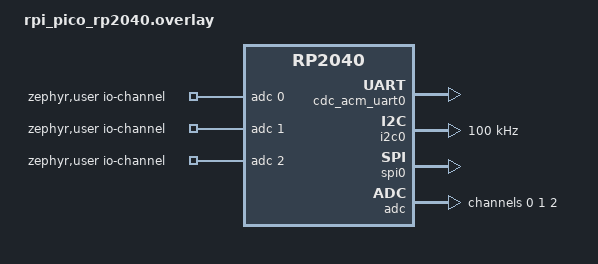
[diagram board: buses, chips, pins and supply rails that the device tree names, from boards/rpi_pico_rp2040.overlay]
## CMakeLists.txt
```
# SPDX-License-Identifier: Apache-2.0

cmake_minimum_required(VERSION 3.20.0)

find_package(Zephyr REQUIRED HINTS $ENV{ZEPHYR_BASE})
project(agent_debugboard)

target_sources(app PRIVATE src/main.c src/debugboard_model.c)
```

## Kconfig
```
# SPDX-License-Identifier: Apache-2.0

mainmenu "agent-debugboard controller"

source "Kconfig.zephyr"
```

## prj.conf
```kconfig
CONFIG_GPIO=y
CONFIG_ADC=y
CONFIG_I2C=y
CONFIG_SPI=y

CONFIG_SHELL=y
CONFIG_SHELL_BACKEND_SERIAL=y
CONFIG_SHELL_BACKEND_SERIAL_CHECK_DTR=y
CONFIG_SHELL_BACKEND_SERIAL_RX_RING_BUFFER_SIZE=256
CONFIG_SHELL_BACKEND_SERIAL_TX_RING_BUFFER_SIZE=256
CONFIG_SHELL_PROMPT_UART="debugboard:~$ "

CONFIG_USB_DEVICE_STACK_NEXT=y
CONFIG_USBD_CDC_ACM_CLASS=y
CONFIG_CDC_ACM_SERIAL_INITIALIZE_AT_BOOT=y
CONFIG_CDC_ACM_SERIAL_MANUFACTURER_STRING="Radxa"
CONFIG_CDC_ACM_SERIAL_PRODUCT_STRING="Agent DebugBoard"
CONFIG_CDC_ACM_SERIAL_PID=0xDB01

CONFIG_SERIAL=y
CONFIG_UART_INTERRUPT_DRIVEN=y
CONFIG_UART_LINE_CTRL=y

CONFIG_LOG=y
CONFIG_LOG_DEFAULT_LEVEL=2
CONFIG_BOOT_BANNER=n
```

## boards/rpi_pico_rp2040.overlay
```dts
#include <zephyr/dt-bindings/adc/adc.h>
#include <zephyr/dt-bindings/i2c/i2c.h>
#include <zephyr/dt-bindings/pinctrl/rpi-pico-rp2040-pinctrl.h>

/ {
	chosen {
		zephyr,console = &cdc_acm_uart0;
		zephyr,shell-uart = &cdc_acm_uart0;
	};

	zephyr,user {
		/* Board current-monitor outputs:
		 * GP26/ADC0 = S_C_5V, GP27/ADC1 = S_C_12V,
		 * GP28/ADC2 = S_C_20V.
		 */
		io-channels = <&adc 0>, <&adc 1>, <&adc 2>;
	};
};

&zephyr_udc0 {
	cdc_acm_uart0: cdc_acm_uart0 {
		compatible = "zephyr,cdc-acm-uart";
		label = "Agent DebugBoard USB shell";
	};
};

/* The board uses GP05 for 5V_OUT enable. Do not keep Pico's default I2C0
 * assignment on GP04/GP05.
 */
&pinctrl {
	i2c0_debugboard_j17: i2c0_debugboard_j17 {
		group1 {
			pinmux = <I2C0_SDA_P20>, <I2C0_SCL_P21>;
			input-enable;
			input-schmitt-enable;
		};
	};
};

&uart0 {
	status = "disabled";
};

&i2c0 {
	status = "okay";
	clock-frequency = <I2C_BITRATE_STANDARD>;
	pinctrl-0 = <&i2c0_debugboard_j17>;
	pinctrl-names = "default";
};

&spi0 {
	status = "okay";
	pinctrl-0 = <&spi0_default>;
	pinctrl-names = "default";
};

&adc {
	status = "okay";
	#address-cells = <1>;
	#size-cells = <0>;

	channel@0 {
		reg = <0>;
		zephyr,gain = "ADC_GAIN_1";
		zephyr,reference = "ADC_REF_INTERNAL";
		zephyr,acquisition-time = <ADC_ACQ_TIME_DEFAULT>;
		zephyr,resolution = <12>;
	};

	channel@1 {
		reg = <1>;
		zephyr,gain = "ADC_GAIN_1";
		zephyr,reference = "ADC_REF_INTERNAL";
		zephyr,acquisition-time = <ADC_ACQ_TIME_DEFAULT>;
		zephyr,resolution = <12>;
	};

	channel@2 {
		reg = <2>;
		zephyr,gain = "ADC_GAIN_1";
		zephyr,reference = "ADC_REF_INTERNAL";
		zephyr,acquisition-time = <ADC_ACQ_TIME_DEFAULT>;
		zephyr,resolution = <12>;
	};
};
```

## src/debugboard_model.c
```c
/*
 * SPDX-License-Identifier: Apache-2.0
 */

#include "debugboard_model.h"

#include <ctype.h>
#include <errno.h>
#include <stdlib.h>
#include <string.h>

#define ARRAY_SIZE_LOCAL(array) (sizeof(array) / sizeof((array)[0]))
#define INA139_SENSOR "INA139"
#define INA139_SHUNT_UOHM 200U
#define INA139_LOAD_OHM 100000U
#define INA139_GM_UA_PER_V 1000U
#define INA139_OFFSET_MV 0
#define INA139_MA_PER_MV 50
#define INA139_5V_OUT_OFFSET_MV 11
#define INA139_5V_OUT_MA_PER_MV 50

static const struct debugboard_current_cal_point five_volt_cal_points[] = {
	{ .mv = 11, .ma = 0 },
	{ .mv = 12, .ma = 200 },
	{ .mv = 13, .ma = 300 },
	{ .mv = 16, .ma = 400 },
	{ .mv = 17, .ma = 500 },
	{ .mv = 20, .ma = 600 },
	{ .mv = 21, .ma = 700 },
	{ .mv = 24, .ma = 800 },
	{ .mv = 26, .ma = 900 },
	{ .mv = 27, .ma = 1000 },
	{ .mv = 29, .ma = 1100 },
	{ .mv = 33, .ma = 1250 },
	{ .mv = 36, .ma = 1400 },
	{ .mv = 38, .ma = 1500 },
	{ .mv = 40, .ma = 1600 },
	{ .mv = 41, .ma = 1700 },
	{ .mv = 43, .ma = 1800 },
	{ .mv = 46, .ma = 1900 },
	{ .mv = 48, .ma = 2000 },
	{ .mv = 49, .ma = 2100 },
	{ .mv = 52, .ma = 2200 },
	{ .mv = 53, .ma = 2300 },
	{ .mv = 56, .ma = 2400 },
	{ .mv = 58, .ma = 2500 },
	{ .mv = 61, .ma = 2600 },
	{ .mv = 62, .ma = 2700 },
	{ .mv = 65, .ma = 2800 },
	{ .mv = 66, .ma = 2900 },
	{ .mv = 68, .ma = 3000 },
	{ .mv = 70, .ma = 3100 },
	{ .mv = 74, .ma = 3300 },
	{ .mv = 77, .ma = 3400 },
	{ .mv = 78, .ma = 3500 },
	{ .mv = 81, .ma = 3600 },
	{ .mv = 82, .ma = 3700 },
	{ .mv = 86, .ma = 3800 },
	{ .mv = 87, .ma = 3900 },
	{ .mv = 89, .ma = 4000 },
	{ .mv = 91, .ma = 4100 },
	{ .mv = 92, .ma = 4200 },
	{ .mv = 95, .ma = 4300 },
};

const struct debugboard_rail_desc debugboard_rails[] = {
	{
		.name = "12v_out",
		.signal = "GP02_12V_EN",
		.pin = 2,
		.controllable = true,
	},
	{
		.name = "5v_out",
		.signal = "GP05_5V_EN",
		.pin = 5,
		.controllable = true,
	},
	{
		.name = "5v_ws",
		.signal = "GP09_5V_WS_EN",
		.pin = 9,
		.controllable = true,
	},
	{
		.name = "20v_out",
		.signal = "GP10_20V_EN",
		.pin = 10,
		.controllable = true,
	},
};

const size_t debugboard_rail_count = ARRAY_SIZE_LOCAL(debugboard_rails);

const struct debugboard_current_desc debugboard_currents[] = {
	{
		.name = "5v_out",
		.signal = "S_C_5V",
		.sensor = INA139_SENSOR,
		.cal_points = five_volt_cal_points,
		.cal_point_count = ARRAY_SIZE_LOCAL(five_volt_cal_points),
		.adc_index = 0,
		.shunt_uohm = INA139_SHUNT_UOHM,
		.load_ohm = INA139_LOAD_OHM,
		.gm_ua_per_v = INA139_GM_UA_PER_V,
		.offset_mv = INA139_5V_OUT_OFFSET_MV,
		.ma_per_mv = INA139_5V_OUT_MA_PER_MV,
	},
	{
		.name = "12v_out",
		.signal = "S_C_12V",
		.sensor = INA139_SENSOR,
		.cal_points = NULL,
		.cal_point_count = 0,
		.adc_index = 1,
		.shunt_uohm = INA139_SHUNT_UOHM,
		.load_ohm = INA139_LOAD_OHM,
		.gm_ua_per_v = INA139_GM_UA_PER_V,
		.offset_mv = INA139_OFFSET_MV,
		.ma_per_mv = INA139_MA_PER_MV,
	},
	{
		.name = "20v_out",
		.signal = "S_C_20V",
		.sensor = INA139_SENSOR,
		.cal_points = NULL,
		.cal_point_count = 0,
		.adc_index = 2,
		.shunt_uohm = INA139_SHUNT_UOHM,
		.load_ohm = INA139_LOAD_OHM,
		.gm_ua_per_v = INA139_GM_UA_PER_V,
		.offset_mv = INA139_OFFSET_MV,
		.ma_per_mv = INA139_MA_PER_MV,
	},
};

const size_t debugboard_current_count = ARRAY_SIZE_LOCAL(debugboard_currents);

const struct debugboard_safe_gpio_desc debugboard_safe_gpios[] = {
	{ .name = "GP13", .pin = 13, .note = "J17 pin 1" },
	{ .name = "GP14", .pin = 14, .note = "J17 pin 3" },
	{ .name = "GP15", .pin = 15, .note = "J17 pin 5" },
	{ .name = "GP22", .pin = 22, .note = "J17 pin 8" },
	{ .name = "GP23", .pin = 23, .note = "J17 pin 10" },
	{ .name = "GP24", .pin = 24, .note = "J17 pin 12" },
};

const size_t debugboard_safe_gpio_count = ARRAY_SIZE_LOCAL(debugboard_safe_gpios);

static bool streq(const char *a, const char *b)
{
	return strcmp(a, b) == 0;
}

bool debugboard_parse_bool_arg(const char *arg, bool *value)
{
	if (arg == NULL || value == NULL) {
		return false;
	}

	if (streq(arg, "1") || streq(arg, "on") || streq(arg, "enable") ||
	    streq(arg, "enabled")) {
		*value = true;
		return true;
	}

	if (streq(arg, "0") || streq(arg, "off") || streq(arg, "disable") ||
	    streq(arg, "disabled")) {
		*value = false;
		return true;
	}

	return false;
}

bool debugboard_parse_gpio_pin(const char *arg, uint8_t *pin)
{
	const char *p;
	char *end = NULL;
	unsigned long parsed;

	if (arg == NULL || pin == NULL) {
		return false;
	}

	p = arg;
	if ((arg[0] == 'G' || arg[0] == 'g') && (arg[1] == 'P' || arg[1] == 'p')) {
		p = &arg[2];
	}

	if (*p == '\0') {
		return false;
	}

	for (const char *s = p; *s != '\0'; s++) {
		if (!isdigit((unsigned char)*s)) {
			return false;
		}
	}

	errno = 0;
	parsed = strtoul(p, &end, 10);
	if (errno != 0 || end == p || *end != '\0' || parsed > 29) {
		return false;
	}

	*pin = (uint8_t)parsed;
	return true;
}

const struct debugboard_rail_desc *debugboard_find_rail(const char *name)
{
	if (name == NULL) {
		return NULL;
	}

	for (size_t i = 0; i < debugboard_rail_count; i++) {
		if (streq(name, debugboard_rails[i].name) ||
		    streq(name, debugboard_rails[i].signal)) {
			return &debugboard_rails[i];
		}
	}

	return NULL;
}

const struct debugboard_current_desc *debugboard_find_current(const char *name)
{
	if (name == NULL) {
		return NULL;
	}

	for (size_t i = 0; i < debugboard_current_count; i++) {
		if (streq(name, debugboard_currents[i].name) ||
		    streq(name, debugboard_currents[i].signal)) {
			return &debugboard_currents[i];
		}
	}

	return NULL;
}

const struct debugboard_safe_gpio_desc *debugboard_find_safe_gpio_by_pin(uint8_t pin)
{
	for (size_t i = 0; i < debugboard_safe_gpio_count; i++) {
		if (debugboard_safe_gpios[i].pin == pin) {
			return &debugboard_safe_gpios[i];
		}
	}

	return NULL;
}

int32_t debugboard_estimate_current_ma(int32_t millivolts,
				       const struct debugboard_current_desc *current)
{
	int32_t adjusted_mv;
	const struct debugboard_current_cal_point *points;
	size_t count;

	if (current == NULL) {
		return 0;
	}

	points = current->cal_points;
	count = current->cal_point_count;
	if (points != NULL && count > 0) {
		if (millivolts <= points[0].mv) {
			return points[0].ma;
		}

		for (size_t i = 1; i < count; i++) {
			int32_t prev_mv = points[i - 1].mv;
			int32_t next_mv = points[i].mv;
			int32_t prev_ma = points[i - 1].ma;
			int32_t next_ma = points[i].ma;
			int64_t num;
			int32_t den;

			if (millivolts > next_mv) {
				continue;
			}

			den = next_mv - prev_mv;
			if (den <= 0) {
				return next_ma;
			}

			num = (int64_t)(millivolts - prev_mv) * (next_ma - prev_ma);
			return prev_ma + (int32_t)((num + (den / 2)) / den);
		}

		if (count >= 2) {
			int32_t prev_mv = points[count - 2].mv;
			int32_t next_mv = points[count - 1].mv;
			int32_t prev_ma = points[count - 2].ma;
			int32_t next_ma = points[count - 1].ma;
			int32_t den = next_mv - prev_mv;
			int64_t num;

			if (den <= 0) {
				return next_ma;
			}

			num = (int64_t)(millivolts - next_mv) * (next_ma - prev_ma);
			return next_ma + (int32_t)((num + (den / 2)) / den);
		}

		return points[count - 1].ma;
	}

	adjusted_mv = millivolts - current->offset_mv;
	if (adjusted_mv <= 0) {
		return 0;
	}

	return adjusted_mv * current->ma_per_mv;
}
```

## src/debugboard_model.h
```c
/*
 * SPDX-License-Identifier: Apache-2.0
 */

#ifndef AGENT_DEBUGBOARD_MODEL_H_
#define AGENT_DEBUGBOARD_MODEL_H_

#include <stdbool.h>
#include <stddef.h>
#include <stdint.h>

struct debugboard_rail_desc {
	const char *name;
	const char *signal;
	uint8_t pin;
	bool controllable;
};

struct debugboard_current_cal_point {
	int32_t mv;
	int32_t ma;
};

struct debugboard_current_desc {
	const char *name;
	const char *signal;
	const char *sensor;
	const struct debugboard_current_cal_point *cal_points;
	size_t cal_point_count;
	size_t adc_index;
	uint32_t shunt_uohm;
	uint32_t load_ohm;
	uint32_t gm_ua_per_v;
	int32_t offset_mv;
	int32_t ma_per_mv;
};

struct debugboard_safe_gpio_desc {
	const char *name;
	uint8_t pin;
	const char *note;
};

extern const struct debugboard_rail_desc debugboard_rails[];
extern const size_t debugboard_rail_count;

extern const struct debugboard_current_desc debugboard_currents[];
extern const size_t debugboard_current_count;

extern const struct debugboard_safe_gpio_desc debugboard_safe_gpios[];
extern const size_t debugboard_safe_gpio_count;

bool debugboard_parse_bool_arg(const char *arg, bool *value);
bool debugboard_parse_gpio_pin(const char *arg, uint8_t *pin);

const struct debugboard_rail_desc *debugboard_find_rail(const char *name);
const struct debugboard_current_desc *debugboard_find_current(const char *name);
const struct debugboard_safe_gpio_desc *debugboard_find_safe_gpio_by_pin(uint8_t pin);

int32_t debugboard_estimate_current_ma(int32_t millivolts,
				       const struct debugboard_current_desc *current);

#endif /* AGENT_DEBUGBOARD_MODEL_H_ */
```
